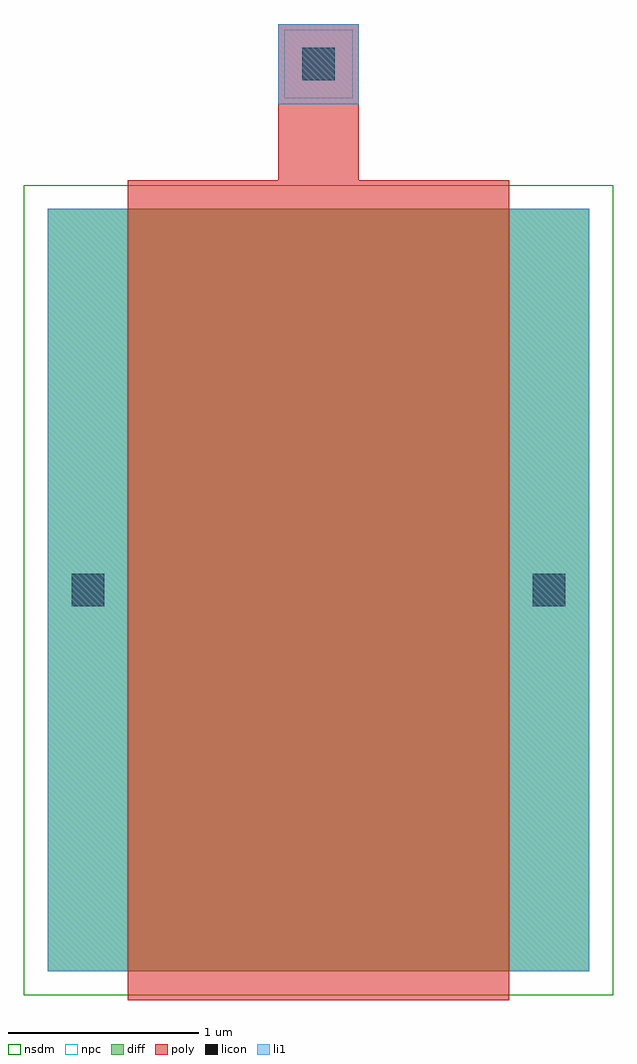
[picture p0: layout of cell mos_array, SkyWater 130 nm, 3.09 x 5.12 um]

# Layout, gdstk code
import gdstk
lib = gdstk.Library(unit=1e-6, precision=1e-09)
def R(c, l, rs):  # rectangles x0, y0, x1, y1
    for r in rs: c.add(gdstk.rectangle(r[:2], r[2:], *l))
diff = (65, 20)
poly = (66, 20)
licon = (66, 44)
li1 = (67, 20)
nsdm = (93, 44)
npc = (95, 20)

mos_array = lib.new_cell('mos_array')
R(mos_array, diff, [(0,0,2.84,4)])
R(mos_array, poly, [(0.42,-0.15,2.42,4), (0.42,4,2.42,4.15), (0.42,4,2.42,4.15), (1.21,4.15,1.63,4.97)])
R(mos_array, licon, [(0.125,1.915,0.295,2.085), (2.545,1.915,2.715,2.085), (1.335,4.675,1.505,4.845)])
R(mos_array, li1, [(0,0,0.42,4), (2.42,0,2.84,4), (1.21,4.55,1.63,4.97)])
R(mos_array, nsdm, [(-0.125,-0.125,2.965,4.125)])
R(mos_array, npc, [(1.24,4.58,1.6,4.94)])

lib.write_gds('mos_array.gds')
